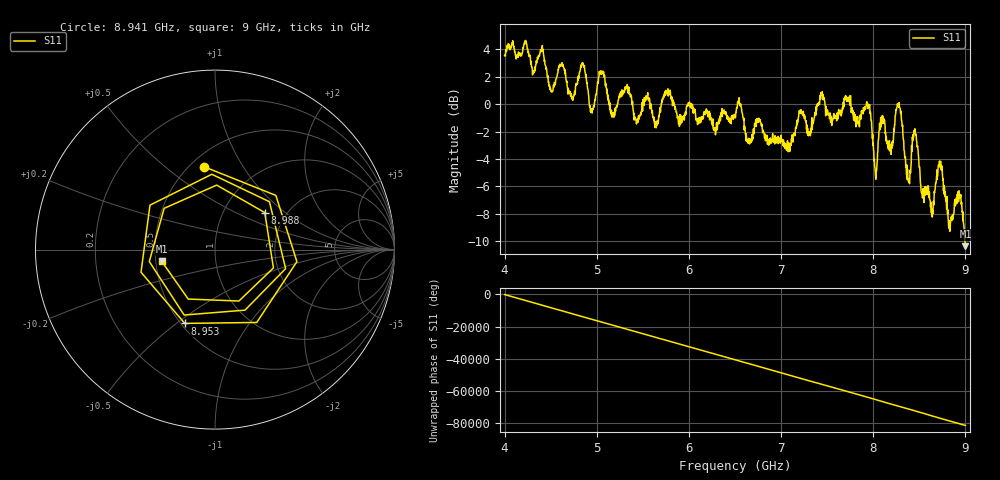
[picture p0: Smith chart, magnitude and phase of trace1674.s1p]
! Created with skrf 1.8.0 (http://scikit-rf.org).
# Hz S RI R 50.0
!freq ReS11 ImS11
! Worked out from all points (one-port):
!   1601 points, 4 GHz to 9 GHz, reference 50 ohm
!   lowest |S11| = -10.3 dB at 9 GHz (marker M1), VSWR 1.87, Z = 26.9 - j3.92 ohm
!   |S11| at or under -10 dB: 8.993977 GHz to end of sweep
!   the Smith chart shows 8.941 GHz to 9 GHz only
!   S11 on the Smith chart (normalised r, x): 8.941 GHz: 0.58, +0.69; 8.953 GHz: 0.52, -0.54; 8.988 GHz: 1.56, +0.73; 9 GHz: 0.54, -0.08
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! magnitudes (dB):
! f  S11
! 4 GHz  3.5
! 4.403 GHz  4.0
! 4.509 GHz  0.9
! 4.625 GHz  2.9
! 4.731 GHz  0.4
! 4.85 GHz  3.0
! 4.944 GHz  -0.5
! 5.05 GHz  2.2
! 5.169 GHz  -0.9
! 5.25 GHz  0.5
! 5.875 GHz  -1.0
! 6.5 GHz  -1.0
! 7.125 GHz  -2.5
! 7.75 GHz  0.1
! 7.947 GHz  0.0
! 8.025 GHz  -5.2
! 8.091 GHz  -1.0
! 8.184 GHz  -3.3
! 8.278 GHz  -0.2
! 8.375 GHz  -5.5
! 8.45 GHz  -1.8
! 8.631 GHz  -7.9
! 8.725 GHz  -4.3
! 8.831 GHz  -9.3
! 8.941 GHz  -6.6
! 8.953 GHz  -7.0
! 8.988 GHz  -9.2
! 9 GHz  -10.3
